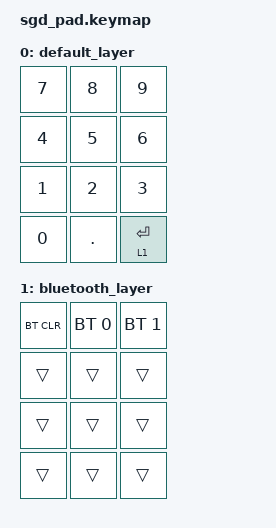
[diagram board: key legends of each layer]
#include <behaviors.dtsi>
#include <dt-bindings/zmk/keys.h>
#include <dt-bindings/zmk/bt.h>

/ {
    keymap {
        compatible = "zmk,keymap";

        default_layer {
            bindings = <
                &kp N7      &kp N8      &kp N9
                &kp N4      &kp N5      &kp N6
                &kp N1      &kp N2      &kp N3
                &kp N0      &kp DOT     &lt 1 ENTER
            >;
        };

        bluetooth_layer {
            bindings = <
                &bt BT_CLR     &bt BT_SEL 0   &bt BT_SEL 1
                &trans         &trans         &trans
                &trans         &trans         &trans
                &trans         &trans         &trans
            >;
        };
    };
};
